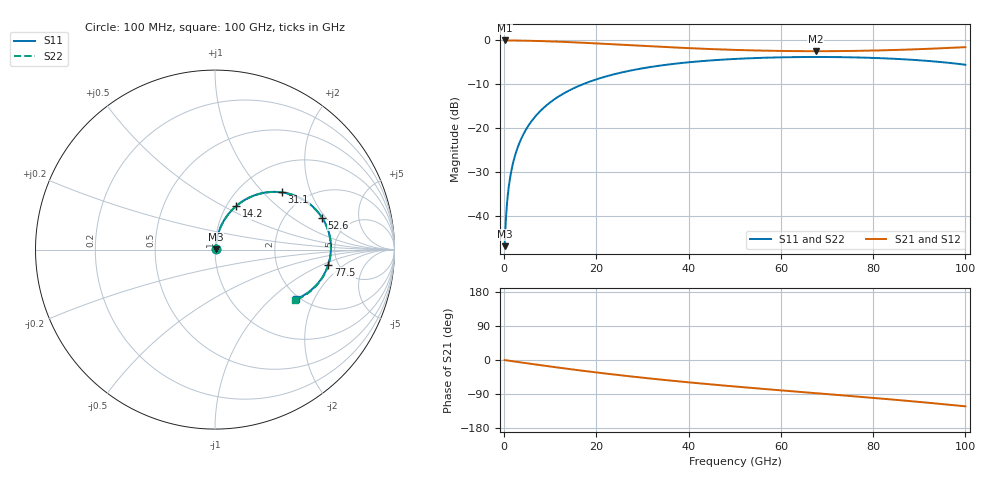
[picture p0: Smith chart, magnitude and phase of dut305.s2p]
! Touchstone file exported from HFSS 2026.1.0
!  File:  C:/ffzhzh/LocalFiles/Ansys_Project_Files/temp_train_RDL_305_1783502427_41296.aedt
!  Generated:  05:21:42 PM Jul  8, 2026
!  Design:  RDL
!  Project:  temp_train_RDL_305_1783502427_41296
! Variables:
!  h_bsmrdl = 2um
!  h_ox = 20um
!  h_rdl = 5um
!  h_sub = 80um
!  h_tmrdl = 2.8um
!  h_tsv = 80um
!  h_via = 3um
!  l_bsmrdl = 300um
!  l_sub = 827.36um
!  l_tmrdl = 427.36um
!  m_sub = 200um
!  pitch = 41.99um
!  r_tsv = 6um
!  s_tmrdl = 10um
!  w_bsmrdl = 18um
!  w_sub = 500um
!  w_tmrdl = 14.05um
!  x_tsv_center1 = 434.385um
!  x_tsv_center2 = 752.385um
!  x_tsv_center3 = 1193.795um
!  x_tsv_center4 = 1511.795um
!  x_tsv_center5 = 1953.205um
!  x_tsv_center6 = 2271.205um
# GHz S MA R 50.000000
! Terminal data exported
! Port[1] = TM_RDL1_1_T1
! Port[2] = TM_RDL1_1_T2
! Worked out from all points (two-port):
!   1000 points, 100 MHz to 100 GHz, reference 50 ohm
!   highest |S21| = -0.03 dB at 100 MHz (marker M1); lowest = -2.5 dB at 67.6 GHz (marker M2)
!   |S21| within 3 dB of the highest: start of sweep to end of sweep
!   lowest |S11| = -46.8 dB at 100 MHz (marker M3), VSWR 1.01, Z = 50.4 + j0.22 ohm
!   |S11| at or under -10 dB: start of sweep to 17.07 GHz
!   |S22| runs from -46.8 to -3.8 dB; largest |S21 - S12| = 1.6e-14
!   S11 on the Smith chart (normalised r, x): 100 MHz: 1.01, +0.00; 14.2 GHz: 1.11, +0.58; 31.1 GHz: 1.53, +1.29; 52.6 GHz: 3.15, +1.83; 77.5 GHz: 4.14, -1.18; 100 GHz: 1.90, -1.45
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0.1  0.004549 28.6  0.996 -0.2  0.996 -0.2  0.004549 28.6
! Gamma 0 0 0 0
! Port Impedance 50 0 50 0
0.4  0.009601 63.2  0.9957 -0.7  0.9957 -0.7  0.009601 63.2
0.9  0.01948 74.7  0.9952 -1.6  0.9952 -1.6  0.01948 74.7
1.4  0.02948 78.1  0.9948 -2.5  0.9948 -2.5  0.02948 78.1
1.9  0.03955 79.5  0.9943 -3.4  0.9943 -3.4  0.03955 79.5
2.4  0.04965 79.9  0.9937 -4.2  0.9937 -4.2  0.04965 79.9
3.7  0.07582 79.4  0.9917 -6.5  0.9917 -6.5  0.07582 79.4
5.5  0.1116 77.3  0.9877 -9.6  0.9877 -9.6  0.1116 77.3
7.8  0.1561 74.0  0.9808 -13.5  0.9808 -13.5  0.1561 73.9
10.7  0.2098 69.5  0.9696 -18.3  0.9696 -18.3  0.2098 69.4
14.2  0.2704 64.0  0.9533 -24.0  0.9533 -24.0  0.2704 64.0
16.8  0.3121 60.1  0.9398 -28.0  0.9398 -28.0  0.3121 60.0
23.2  0.4026 50.9  0.9038 -37.5  0.9038 -37.5  0.4026 50.8
31.1  0.4909 40.5  0.859 -48.1  0.859 -48.1  0.4909 40.4
33.4  0.512 37.7  0.8467 -51.0  0.8467 -51.0  0.512 37.5
50.1  0.6141 19.1  0.7773 -70.0  0.7773 -70.0  0.6141 18.9
52.6  0.6228 16.6  0.7706 -72.6  0.7706 -72.6  0.6228 16.3
66.7  0.6461 2.8  0.7519 -86.7  0.7519 -86.7  0.6462 2.4
67.6  0.6462 1.9  0.7518 -87.6  0.7518 -87.6  0.6463 1.5
77.5  0.6364 -7.7  0.7599 -97.5  0.7599 -97.5  0.6364 -8.2
83.4  0.6205 -13.6  0.7724 -103.5  0.7724 -103.5  0.6206 -14.1
100  0.5271 -31.7  0.8358 -122.3  0.8358 -122.3  0.5272 -32.5
